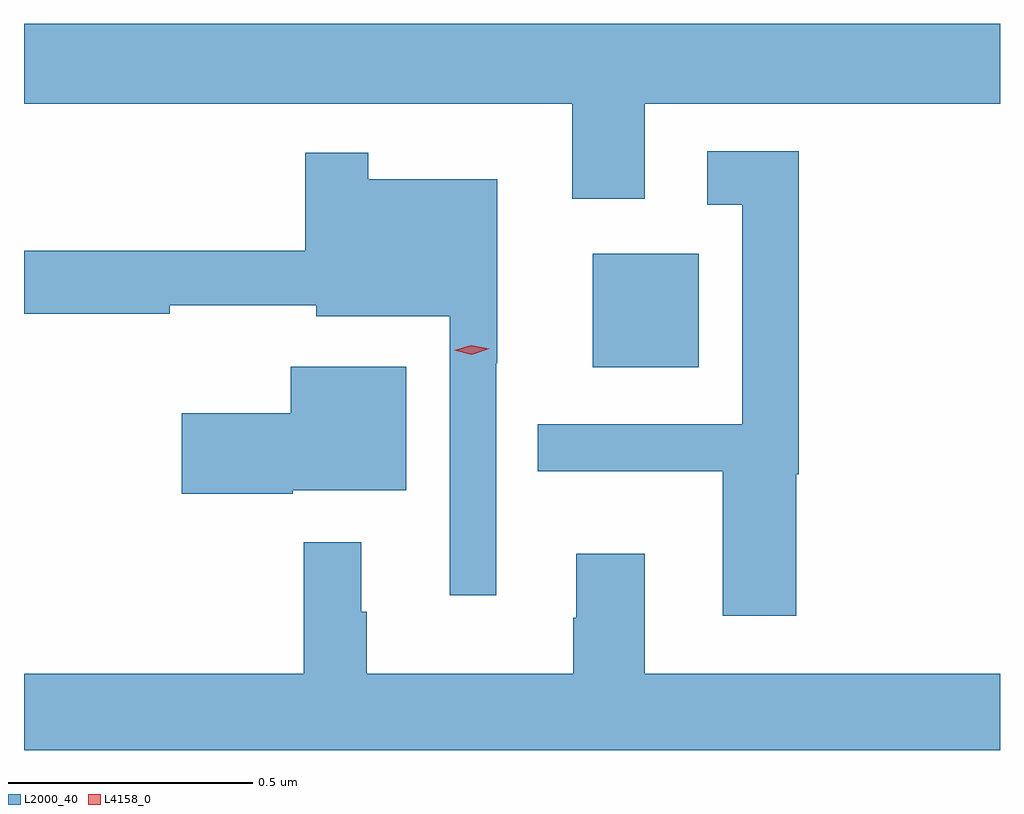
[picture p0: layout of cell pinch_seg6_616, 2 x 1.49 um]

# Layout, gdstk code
import gdstk
lib = gdstk.Library(unit=1e-6, precision=1e-09)
def R(c, l, rs):  # rectangles x0, y0, x1, y1
    for r in rs: c.add(gdstk.rectangle(r[:2], r[2:], *l))
def P(c, l, *ps):  # polygons
    for p in ps: c.add(gdstk.Polygon(p, *l))
L2000_40 = (2000, 40)
L4158_0 = (4158, 0)

pinch_seg6_616 = lib.new_cell('pinch_seg6_616')
R(pinch_seg6_616, L2000_40, [(432.596,961.448,432.814,961.681)])
P(pinch_seg6_616, L2000_40, [(432.703,961.988),(433.431,961.988),(433.431,962.152),(431.431,962.152),(431.431,961.988),(432.554,961.988),(432.554,961.794),(432.703,961.794)],
  [(433.013,961.229),(433.019,961.229),(433.019,961.891),(432.831,961.891),(432.831,961.781),(432.903,961.781),(432.903,961.332),(432.484,961.332),(432.484,961.235),(432.863,961.235),(432.863,960.939),(433.013,960.939)],
  [(432.399,961.457),(432.401,961.457),(432.401,961.834),(432.136,961.834),(432.136,961.888),(432.007,961.888),(432.007,961.687),(431.431,961.687),(431.431,961.558),(431.73,961.558),(431.73,961.576),(432.03,961.576),(432.03,961.553),(432.303,961.553),(432.303,960.981),(432.399,960.981)],
  [(431.982,961.196),(432.214,961.196),(432.214,961.45),(431.978,961.45),(431.978,961.354),(431.754,961.354),(431.754,961.189),(431.982,961.189)],
  [(433.431,960.82),(432.703,960.82),(432.703,961.066),(432.563,961.066),(432.563,960.935),(432.556,960.935),(432.556,960.82),(432.133,960.82),(432.133,960.947),(432.122,960.947),(432.122,961.09),(432.004,961.09),(432.004,960.82),(431.431,960.82),(431.431,960.664),(433.431,960.664)])
P(pinch_seg6_616, L4158_0, [(432.349,961.474),(432.313,961.483),(432.313,961.483),(432.313,961.483),(432.348,961.494),(432.384,961.486),(432.384,961.486),(432.384,961.486)])

lib.write_gds('pinch_seg6_616.gds')
